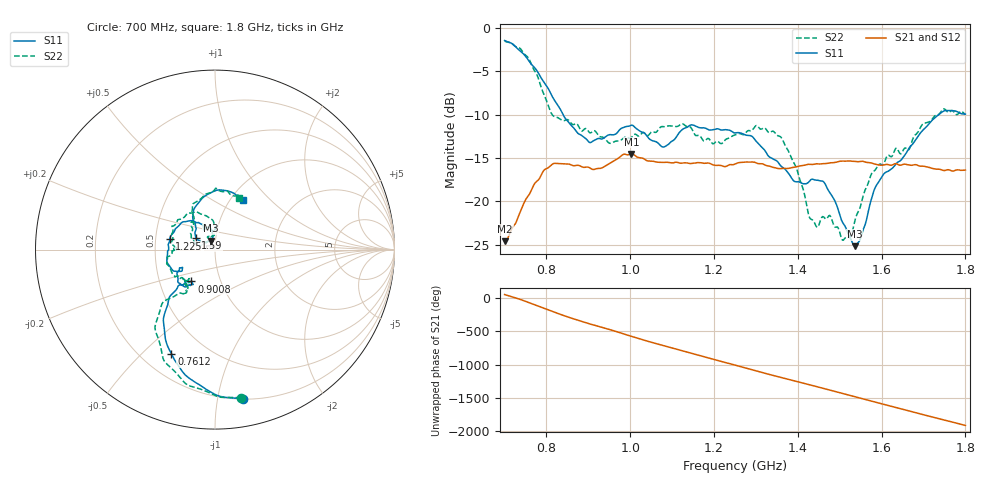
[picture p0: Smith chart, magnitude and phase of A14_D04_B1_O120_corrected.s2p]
! Created with skrf 1.9.0 (http://scikit-rf.org).
# Hz S RI R 50.0
!freq ReS11 ImS11 ReS21 ImS21 ReS12 ImS12 ReS22 ImS22
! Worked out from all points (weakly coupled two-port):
!   1601 points, 700 MHz to 1.8 GHz, reference 50 ohm
!   highest |S21| = -14.53 dB at 1.002 GHz (marker M1); lowest = -24.6 dB at 701.4 MHz (marker M2)
!   lowest |S11| = -25.2 dB at 1.536 GHz (marker M3), VSWR 1.12, Z = 47.4 + j4.71 ohm
!   |S11| at or under -10 dB: 839.6 MHz to 1.736 GHz (896.6 MHz wide, 69.6 % of centre)
!   |S22| runs from -24.5 to -1.5 dB; largest |S21 - S12| = 0.0034
!   S11 on the Smith chart (normalised r, x): 700 MHz: 0.20, -1.19; 761.2 MHz: 0.32, -0.62; 900.8 MHz: 0.73, -0.27; 1.225 GHz: 0.59, +0.08; 1.59 GHz: 0.80, +0.11; 1.8 GHz: 1.13, +0.70
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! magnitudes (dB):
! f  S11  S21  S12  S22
! 700 MHz  -1.4  -24.6  -24.4  -1.5
! 701.4 MHz  -1.5  -24.6  -24.2  -1.6
! 761.2 MHz  -4.0  -19.0  -18.9  -3.9
! 814.1 MHz  -7.9  -15.7  -15.7  -10.0
! 883.6 MHz  -12.4  -16.0  -15.9  -11.9
! 900.8 MHz  -13.1  -16.1  -16.1  -12.0
! 1.002 GHz  -11.2  -14.5  -14.6  -12.6
! 1.067 GHz  -13.3  -15.5  -15.4  -11.7
! 1.145 GHz  -11.2  -15.6  -15.6  -11.5
! 1.225 GHz  -11.7  -16.0  -15.9  -13.0
! 1.25 GHz  -12.1  -15.7  -15.6  -12.3
! 1.302 GHz  -13.1  -15.6  -15.5  -11.3
! 1.359 GHz  -15.9  -16.2  -16.2  -12.6
! 1.396 GHz  -17.7  -16.0  -16.0  -16.1
! 1.434 GHz  -17.4  -15.7  -15.7  -22.1
! 1.464 GHz  -17.9  -15.6  -15.6  -21.9
! 1.509 GHz  -22.6  -15.4  -15.3  -24.4
! 1.536 GHz  -25.2  -15.4  -15.4  -22.3
! 1.59 GHz  -18.0  -15.8  -15.8  -16.0
! 1.617 GHz  -16.5  -15.8  -15.7  -14.7
! 1.742 GHz  -9.8  -16.3  -16.3  -9.6
! 1.8 GHz  -9.9  -16.4  -16.4  -10.0
